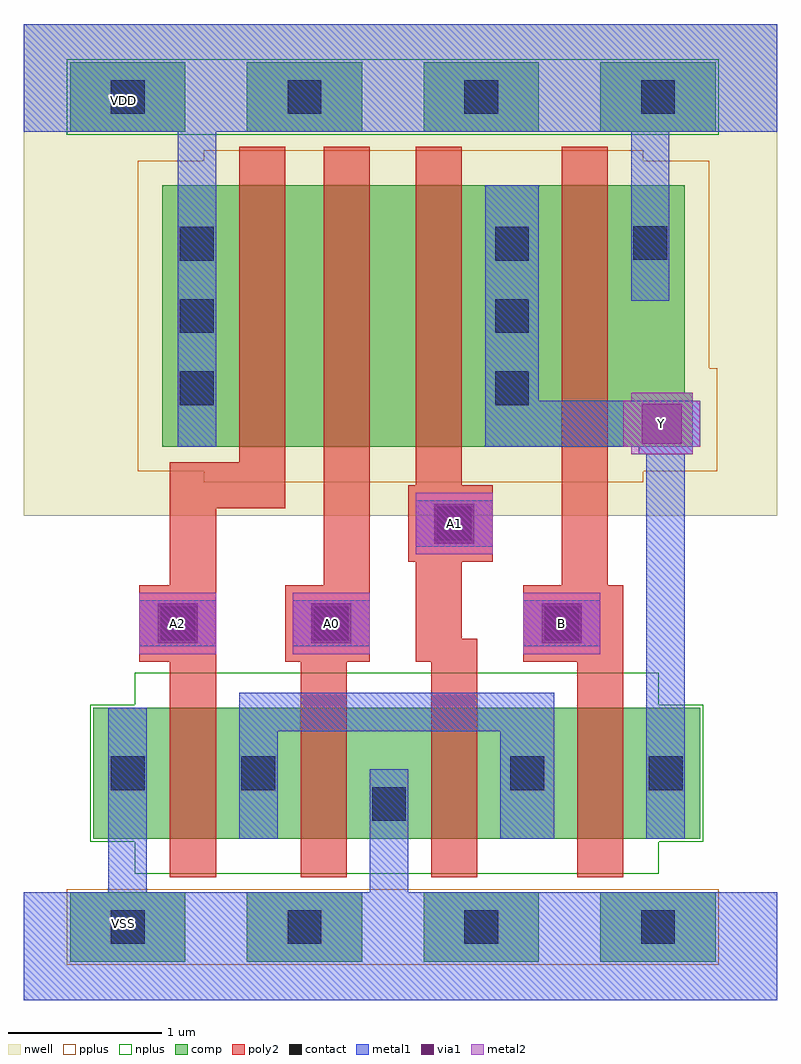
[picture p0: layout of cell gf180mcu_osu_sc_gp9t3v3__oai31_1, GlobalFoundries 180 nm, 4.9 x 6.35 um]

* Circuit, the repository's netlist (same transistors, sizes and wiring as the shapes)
* Copyright 2022 Google LLC
*
* Licensed under the Apache License, Version 2.0 (the "License");
* you may not use this file except in compliance with the License.
* You may obtain a copy of the License at
*
*      http://www.apache.org/licenses/LICENSE-2.0
*
* Unless required by applicable law or agreed to in writing, software
* distributed under the License is distributed on an "AS IS" BASIS,
* WITHOUT WARRANTIES OR CONDITIONS OF ANY KIND, either express or implied.
* See the License for the specific language governing permissions and
* limitations under the License.

.option scale=0.05u

.subckt gf180mcu_osu_sc_gp9t3v3__oai31_1 Y A0 A1 B A2
X0 a_25_19 A1 VSS VSS nmos_3p3 w=17 l=6
X1 a_25_19 A2 VSS VSS nmos_3p3 w=17 l=6
X2 Y A1 a_45_70 VDD pmos_3p3 w=34 l=6
X3 Y B a_25_19 VSS nmos_3p3 w=17 l=6
X4 a_34_70 A2 VDD VDD pmos_3p3 w=34 l=6
X5 VSS A0 a_25_19 VSS nmos_3p3 w=17 l=6
X6 a_45_70 A0 a_34_70 VDD pmos_3p3 w=34 l=6
X7 VDD B Y VDD pmos_3p3 w=34 l=6
.ends

** hspice subcircuit dictionary

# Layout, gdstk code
import gdstk
lib = gdstk.Library(unit=1e-6, precision=1e-09)
def R(c, l, rs):  # rectangles x0, y0, x1, y1
    for r in rs: c.add(gdstk.rectangle(r[:2], r[2:], *l))
def A(c, l, x, y, w, h, nx, ny, dx, dy):  # array of equal rectangles
    R(c, l, [(x+i*dx, y+j*dy, x+i*dx+w, y+j*dy+h) for i in range(nx) for j in range(ny)])
nwell = (21, 0)
comp = (22, 0)
poly2 = (30, 0)
pplus = (31, 0)
nplus = (32, 0)
contact = (33, 0)
metal1 = (34, 0)
via1 = (35, 0)
metal2 = (36, 0)

gf180mcu_osu_sc_gp9t3v3_ = lib.new_cell('gf180mcu_osu_sc_gp9t3v3__oai31_1')
R(gf180mcu_osu_sc_gp9t3v3_, nwell, [(0,3.15,4.9,6.35)])
A(gf180mcu_osu_sc_gp9t3v3_, comp, 0.3, 0.25, 0.75, 0.45, 4, 2, 1.15, 5.4)
R(gf180mcu_osu_sc_gp9t3v3_, comp, [(0.45,1.05,4.4,1.9), (0.9,3.6,4.35,3.95), (0.9,3.95,4.3,5.3)])
A(gf180mcu_osu_sc_gp9t3v3_, poly2, 0.95, 0.8, 0.3, 1.4, 3, 1, 0.85, 0)
R(gf180mcu_osu_sc_gp9t3v3_, poly2, [(3.6,0.8,3.9,2.2), (0.75,2.2,1.25,2.7), (1.7,2.2,2.25,2.7), (2.55,2.2,2.95,2.35), (3.25,2.2,3.9,2.7), (2.55,2.35,2.85,2.85), (0.95,2.7,1.25,3.2), (1.95,2.7,2.25,5.55), (3.5,2.7,3.8,5.55), (2.5,2.85,3.05,3.35), (0.95,3.2,1.7,3.5), (2.55,3.35,2.85,5.55), (1.4,3.5,1.7,5.55)])
R(gf180mcu_osu_sc_gp9t3v3_, pplus, [(0.28,0.23,4.52,0.72), (1.17,3.37,4.03,3.44), (0.74,3.44,4.51,4.11), (0.74,4.11,4.46,5.46), (1.17,5.46,4.03,5.53)])
R(gf180mcu_osu_sc_gp9t3v3_, nplus, [(0.72,0.82,4.13,1.03), (0.43,1.03,4.42,1.92), (0.72,1.92,4.13,2.13), (0.28,5.63,4.52,6.12)])
A(gf180mcu_osu_sc_gp9t3v3_, contact, 0.565, 0.365, 0.22, 0.22, 4, 2, 1.15, 5.4)
A(gf180mcu_osu_sc_gp9t3v3_, contact, 1.015, 3.87, 0.22, 0.22, 1, 3, 0, 0.47)
A(gf180mcu_osu_sc_gp9t3v3_, contact, 3.065, 3.87, 0.22, 0.22, 1, 3, 0, 0.47)
R(gf180mcu_osu_sc_gp9t3v3_, contact, [(2.265,1.165,2.485,1.385), (0.565,1.365,0.785,1.585), (1.415,1.365,1.635,1.585), (3.165,1.365,3.385,1.585), (4.065,1.365,4.285,1.585), (0.89,2.34,1.11,2.56), (1.89,2.34,2.11,2.56), (3.39,2.34,3.61,2.56), (2.69,2.99,2.91,3.21), (3.965,4.815,4.185,5.035)])
R(gf180mcu_osu_sc_gp9t3v3_, metal1, [(0,0,4.9,0.7), (0.55,0.7,0.8,1.9), (2.25,0.7,2.5,1.5), (1.4,1.05,1.65,1.75), (3.1,1.05,3.45,1.75), (4.05,1.05,4.3,3.55), (1.4,1.75,3.45,2), (0.75,2.3,1.25,2.6), (1.75,2.3,2.25,2.6), (3.25,2.3,3.75,2.6), (2.55,2.95,3.05,3.25), (4,3.55,4.35,3.6), (1,3.6,1.25,5.65), (3,3.6,4.4,3.9), (3,3.9,3.35,5.3), (3.95,4.55,4.2,5.65), (0,5.65,4.9,6.35)])
R(gf180mcu_osu_sc_gp9t3v3_, via1, [(0.87,2.32,1.13,2.58), (1.87,2.32,2.13,2.58), (3.37,2.32,3.63,2.58), (2.67,2.97,2.93,3.23), (4.02,3.62,4.28,3.88)])
R(gf180mcu_osu_sc_gp9t3v3_, metal2, [(0.75,2.25,1.25,2.65), (1.75,2.25,2.25,2.65), (3.25,2.25,3.75,2.65), (2.55,2.9,3.05,3.3), (3.95,3.55,4.35,3.6), (3.9,3.6,4.4,3.9), (3.95,3.9,4.35,3.95)])
gf180mcu_osu_sc_gp9t3v3_.add(gdstk.Label('A0', (2,2.45), layer=36, texttype=10))
gf180mcu_osu_sc_gp9t3v3_.add(gdstk.Label('A1', (2.8,3.1), layer=36, texttype=10))
gf180mcu_osu_sc_gp9t3v3_.add(gdstk.Label('A2', (1,2.45), layer=36, texttype=10))
gf180mcu_osu_sc_gp9t3v3_.add(gdstk.Label('B', (3.5,2.45), layer=36, texttype=10))
gf180mcu_osu_sc_gp9t3v3_.add(gdstk.Label('Y', (4.15,3.75), layer=36, texttype=10))
gf180mcu_osu_sc_gp9t3v3_.add(gdstk.Label('VDD', (0.65,5.85), layer=34, texttype=10))
gf180mcu_osu_sc_gp9t3v3_.add(gdstk.Label('VSS', (0.65,0.5), layer=34, texttype=10))

lib.write_gds('gf180mcu_osu_sc_gp9t3v3__oai31_1.gds')
